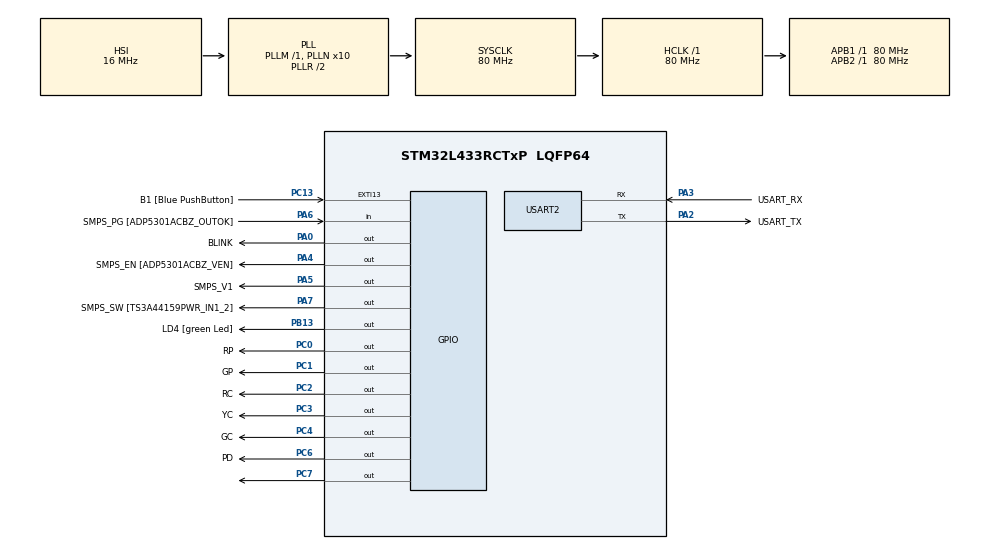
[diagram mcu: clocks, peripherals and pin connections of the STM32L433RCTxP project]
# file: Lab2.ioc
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Mcu.Family=STM32L4
Mcu.Name=STM32L433RCTxP
Mcu.Package=LQFP64
NVIC.EXTI15_10_IRQn=true\:0\:0\:false\:false\:true\:true\:true\:true
NVIC.PriorityGroup=NVIC_PRIORITYGROUP_4
PA0.GPIO_Label=BLINK
PA0.Signal=GPIO_Output
PA13\ (JTMS-SWDIO).GPIO_Label=TMS
PA13\ (JTMS-SWDIO).Mode=Serial_Wire
PA13\ (JTMS-SWDIO).Signal=SYS_JTMS-SWDIO
PA14\ (JTCK-SWCLK).GPIO_Label=TCK
PA14\ (JTCK-SWCLK).Mode=Serial_Wire
PA14\ (JTCK-SWCLK).Signal=SYS_JTCK-SWCLK
PA2.GPIO_Label=USART_TX
PA2.GPIO_Mode=GPIO_MODE_AF_PP
PA2.GPIO_PuPd=GPIO_NOPULL
PA2.GPIO_Speed=GPIO_SPEED_FREQ_VERY_HIGH
PA2.Mode=Asynchronous
PA2.Signal=USART2_TX
PA3.GPIO_Label=USART_RX
PA3.GPIO_Mode=GPIO_MODE_AF_PP
PA3.GPIO_PuPd=GPIO_NOPULL
PA3.GPIO_Speed=GPIO_SPEED_FREQ_VERY_HIGH
PA3.Mode=Asynchronous
PA3.Signal=USART2_RX
PA4.GPIO_Label=SMPS_EN [ADP5301ACBZ_VEN]
PA4.Signal=GPIO_Output
PA5.GPIO_Label=SMPS_V1
PA5.GPIO_ModeDefaultOutputPP=GPIO_MODE_OUTPUT_PP
PA5.GPIO_PuPd=GPIO_NOPULL
PA5.GPIO_Speed=GPIO_SPEED_FREQ_LOW
PA5.Signal=GPIO_Output
PA6.GPIO_Label=SMPS_PG [ADP5301ACBZ_OUTOK]
PA6.GPIO_PuPd=GPIO_PULLUP
PA6.Signal=GPIO_Input
PA7.GPIO_Label=SMPS_SW [TS3A44159PWR_IN1_2]
PA7.Signal=GPIO_Output
PB13.GPIO_Label=LD4 [green Led]
PB13.Signal=GPIO_Output
PB3\ (JTDO-TRACESWO).GPIO_Label=SWO
PB3\ (JTDO-TRACESWO).Signal=SYS_JTDO-SWO
PC0.GPIO_Label=RP
PC0.Signal=GPIO_Output
PC1.GPIO_Label=GP
PC1.Signal=GPIO_Output
PC13.GPIO_Label=B1 [Blue PushButton]
PC13.GPIO_ModeDefaultEXTI=GPIO_MODE_IT_FALLING
PC13.GPIO_PuPd=GPIO_NOPULL
PC13.Signal=GPXTI13
PC14-OSC32_IN\ (PC14).Mode=LSE-External-Oscillator
PC14-OSC32_IN\ (PC14).Signal=RCC_OSC32_IN
PC15-OSC32_OUT\ (PC15).Mode=LSE-External-Oscillator
PC15-OSC32_OUT\ (PC15).Signal=RCC_OSC32_OUT
PC2.GPIO_Label=RC
PC2.Signal=GPIO_Output
PC3.GPIO_Label=YC
PC3.Signal=GPIO_Output
PC4.GPIO_Label=GC
PC4.Signal=GPIO_Output
PC6.GPIO_Label=PD
PC6.Signal=GPIO_Output
PC7.Signal=GPIO_Output
PH0-OSC_IN\ (PH0).GPIO_Label=MCO
PH0-OSC_IN\ (PH0).Mode=HSE-External-Clock-Source
PH0-OSC_IN\ (PH0).Signal=RCC_OSC_IN
PH1-OSC_OUT\ (PH1).Signal=RCC_OSC_OUT
ProjectManager.HeapSize=0x200
ProjectManager.StackSize=0x400
ProjectManager.TargetToolchain=STM32CubeIDE
RCC.ADCFreq_Value=64000000
RCC.AHBFreq_Value=80000000
RCC.APB1Freq_Value=80000000
RCC.APB1TimFreq_Value=80000000
RCC.APB2Freq_Value=80000000
RCC.APB2TimFreq_Value=80000000
RCC.CortexFreq_Value=80000000
RCC.HCLKFreq_Value=80000000
RCC.HSE_VALUE=8000000
RCC.HSI48_VALUE=48000000
RCC.HSI_VALUE=16000000
RCC.MSI_VALUE=4000000
RCC.PLLN=10
RCC.PLLSourceVirtual=RCC_PLLSOURCE_HSI
RCC.PREFETCH_ENABLE=1
RCC.SYSCLKFreq_VALUE=80000000
RCC.SYSCLKSource=RCC_SYSCLKSOURCE_PLLCLK
RCC.USBFreq_Value=64000000
RCC.VCOOutputFreq_Value=160000000
USART2.VirtualMode-Asynchronous=VM_ASYNC
board=NUCLEO-L433RC-P

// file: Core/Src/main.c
/* USER CODE BEGIN Header */
/**
  ******************************************************************************
  * @file           : main.c
  * @brief          : Main program body
  ******************************************************************************
  * @attention
  *
  * Copyright (c) 2025 STMicroelectronics.
  * All rights reserved.
  *
  * This software is licensed under terms that can be found in the LICENSE file
  * in the root directory of this software component.
  * If no LICENSE file comes with this software, it is provided AS-IS.
  *
  ******************************************************************************
  */
/* USER CODE END Header */
#include "main.h"

UART_HandleTypeDef huart2;

void SystemClock_Config(void);
static void MX_GPIO_Init(void);
static void MX_USART2_UART_Init(void);

/* USER CODE BEGIN 0 */
typedef enum event {
  ev_none,
  ev_button_push,
  ev_state_timeout,
  ev_error = -99
} Event;

typedef enum state{
  s_init,
  s_car_go,
  s_pushed_wait,
  s_cars_stopping,
  s_all_stop,
  s_p_go,
  s_cars_wait,
  s_all_stop_2

} State;

const uint16_t lights_pins[] = {
  0b11111,
  0b01100,
  0b01010,
  0b01001,
  0b01001,
  0b10001,
  0b01011,
  0b01001
};

#define EVQ_SIZE 10

uint32_t ticks_left_in_state = 0, curr_tick = 0, last_tick = 0;

Event evq [ EVQ_SIZE ];
int evq_count    = 0;
int evq_front_ix = 0;
int evq_rear_ix  = 0;

void evq_init(){
  for(int i = 0; i < EVQ_SIZE; i++){
    evq[i] = ev_error;
  }
}

void evq_push_back(Event e){
  if(evq_count + 1 > EVQ_SIZE) return; // we ignore if we are full
  evq[evq_rear_ix] = e;
  evq_rear_ix = (evq_rear_ix + 1) % EVQ_SIZE;
  evq_count ++;
}

Event evq_pop_front(){
  if(evq_count <= 0) return ev_none;

  Event e = evq[evq_front_ix];
  evq[evq_front_ix] = ev_error;
  evq_front_ix = (evq_front_ix + 1) % EVQ_SIZE;
  evq_count --;
  return e;
}

void HAL_GPIO_EXTI_Callback( uint16_t GPIO_Pin ){
  if(GPIO_Pin == B1_Pin){
    evq_push_back(ev_button_push);
  }
}

void my_systick_handler(){

  if(ticks_left_in_state <= 0){
    evq_push_back(ev_state_timeout);
  }
  else{
    ticks_left_in_state --;
  }
}

int is_blue_button_pressed(){
  uint32_t reg_read = GPIOC->IDR;
  // we look at the first bit in the reg_variable
  return reg_read & (0x01 << 13);
}

void set_traffic_lights(State st)
{
  //int light = HAL_GPIO_ReadPin(PD_GPIO_Port, PD_Pin_Port);
  GC_GPIO_Port->BRR = 0b11111;
  GC_GPIO_Port->BSRR = lights_pins[st];
}

void push_button_light_on(){
  HAL_GPIO_WritePin(PD_GPIO_Port, PD_Pin, GPIO_PIN_SET);
}
void push_button_light_off(){
    HAL_GPIO_WritePin(PD_GPIO_Port, PD_Pin, GPIO_PIN_RESET);
}
/* USER CODE END 0 */

int main(void)
{

  /* MCU Configuration--------------------------------------------------------*/

  /* Reset of all peripherals, Initializes the Flash interface and the Systick. */
  HAL_Init();

  /* Configure the system clock */
  SystemClock_Config();

  /* Initialize all configured peripherals */
  MX_GPIO_Init();
  MX_USART2_UART_Init();
  /* USER CODE BEGIN 2 */
  State state = s_init;
  Event event = ev_none;

  int curr_pressed = is_blue_button_pressed();
  int last_pressed = curr_pressed;

  uint32_t blink_ticks = 100;
  int blink_state = 0;
  /* USER CODE END 2 */

  /* Infinite loop */
  /* USER CODE BEGIN WHILE */
  while (1)
  {
    State next_state = state;
    event = evq_pop_front();

    curr_tick = HAL_GetTick();

    switch(event){
      case ev_none:
          switch(state){
            case s_p_go:
              if(blink_ticks > 0 ){
                blink_ticks -= (curr_tick-last_tick);
              }
              else{
                HAL_GPIO_WritePin(BLINK_GPIO_Port, BLINK_Pin, blink_state ? GPIO_PIN_SET : GPIO_PIN_RESET);
                blink_state = blink_state ? 0 : 1;
                blink_ticks = 200;
              }
              break;
            default:
              if(blink_ticks > 0 ){
                blink_ticks -= (curr_tick-last_tick);
              }
              else{
                HAL_GPIO_WritePin(BLINK_GPIO_Port, BLINK_Pin, blink_state ? GPIO_PIN_SET : GPIO_PIN_RESET);
                blink_state = blink_state ? 0 : 1;
                blink_ticks = 700;
              }
              break;
          }
          break;
      case ev_button_push:

        switch(state){
          case s_init:
            next_state = s_car_go;
            break;
          case s_car_go:
            ticks_left_in_state = 2000;
            next_state = s_pushed_wait;
            push_button_light_on();
            break;
          default:
            next_state = state;
            break;
        }
        break;
      case ev_state_timeout:
        switch(state){
          case s_pushed_wait:
            ticks_left_in_state = 1000;
            next_state = s_cars_stopping;
            break;
          case s_cars_stopping:
            ticks_left_in_state = 1000;
            next_state = s_all_stop;
            push_button_light_off();

            break;
          case s_all_stop:
            ticks_left_in_state = 3000;
            next_state = s_p_go;
            break;
          case s_p_go:
            ticks_left_in_state = 1000;
            next_state = s_all_stop_2;
            break;
          case s_all_stop_2:
            next_state = s_cars_wait;
            ticks_left_in_state = 1000;
            break;
          case s_cars_wait:
            next_state = s_car_go;
            ticks_left_in_state = 1000;
            break;
          default:
            break;
        }
        break;
    }
    // switch state
    state = next_state;
    set_traffic_lights(state);
    // save last tick
    last_tick = curr_tick;

    /* USER CODE END WHILE */

  }
}

void SystemClock_Config(void)
{
  RCC_OscInitTypeDef RCC_OscInitStruct = {0};
  RCC_ClkInitTypeDef RCC_ClkInitStruct = {0};

  /** Configure the main internal regulator output voltage
  */
  if (HAL_PWREx_ControlVoltageScaling(PWR_REGULATOR_VOLTAGE_SCALE1) != HAL_OK)
  {
    Error_Handler();
  }

  /** Initializes the RCC Oscillators according to the specified parameters
  * in the RCC_OscInitTypeDef structure.
  */
  RCC_OscInitStruct.OscillatorType = RCC_OSCILLATORTYPE_HSI;
  RCC_OscInitStruct.HSIState = RCC_HSI_ON;
  RCC_OscInitStruct.HSICalibrationValue = RCC_HSICALIBRATION_DEFAULT;
  RCC_OscInitStruct.PLL.PLLState = RCC_PLL_ON;
  RCC_OscInitStruct.PLL.PLLSource = RCC_PLLSOURCE_HSI;
  RCC_OscInitStruct.PLL.PLLM = 1;
  RCC_OscInitStruct.PLL.PLLN = 10;
  RCC_OscInitStruct.PLL.PLLP = RCC_PLLP_DIV7;
  RCC_OscInitStruct.PLL.PLLQ = RCC_PLLQ_DIV2;
  RCC_OscInitStruct.PLL.PLLR = RCC_PLLR_DIV2;
  if (HAL_RCC_OscConfig(&RCC_OscInitStruct) != HAL_OK)
  {
    Error_Handler();
  }

  /** Initializes the CPU, AHB and APB buses clocks
  */
  RCC_ClkInitStruct.ClockType = RCC_CLOCKTYPE_HCLK|RCC_CLOCKTYPE_SYSCLK
                              |RCC_CLOCKTYPE_PCLK1|RCC_CLOCKTYPE_PCLK2;
  RCC_ClkInitStruct.SYSCLKSource = RCC_SYSCLKSOURCE_PLLCLK;
  RCC_ClkInitStruct.AHBCLKDivider = RCC_SYSCLK_DIV1;
  RCC_ClkInitStruct.APB1CLKDivider = RCC_HCLK_DIV1;
  RCC_ClkInitStruct.APB2CLKDivider = RCC_HCLK_DIV1;

  if (HAL_RCC_ClockConfig(&RCC_ClkInitStruct, FLASH_LATENCY_4) != HAL_OK)
  {
    Error_Handler();
  }
}

static void MX_USART2_UART_Init(void)
{

  huart2.Instance = USART2;
  huart2.Init.BaudRate = 115200;
  huart2.Init.WordLength = UART_WORDLENGTH_8B;
  huart2.Init.StopBits = UART_STOPBITS_1;
  huart2.Init.Parity = UART_PARITY_NONE;
  huart2.Init.Mode = UART_MODE_TX_RX;
  huart2.Init.HwFlowCtl = UART_HWCONTROL_NONE;
  huart2.Init.OverSampling = UART_OVERSAMPLING_16;
  huart2.Init.OneBitSampling = UART_ONE_BIT_SAMPLE_DISABLE;
  huart2.AdvancedInit.AdvFeatureInit = UART_ADVFEATURE_NO_INIT;
  if (HAL_UART_Init(&huart2) != HAL_OK)
  {
    Error_Handler();
  }

}

static void MX_GPIO_Init(void)
{
  GPIO_InitTypeDef GPIO_InitStruct = {0};

  /* GPIO Ports Clock Enable */
  __HAL_RCC_GPIOC_CLK_ENABLE();
  __HAL_RCC_GPIOH_CLK_ENABLE();
  __HAL_RCC_GPIOA_CLK_ENABLE();
  __HAL_RCC_GPIOB_CLK_ENABLE();

  /*Configure GPIO pin Output Level */
  HAL_GPIO_WritePin(GPIOC, RP_Pin|GP_Pin|RC_Pin|YC_Pin
                          |GC_Pin|PD_Pin|GPIO_PIN_7, GPIO_PIN_RESET);

  /*Configure GPIO pin Output Level */
  HAL_GPIO_WritePin(GPIOA, BLINK_Pin|SMPS_EN_Pin|SMPS_V1_Pin|SMPS_SW_Pin, GPIO_PIN_RESET);

  /*Configure GPIO pin Output Level */
  HAL_GPIO_WritePin(LD4_GPIO_Port, LD4_Pin, GPIO_PIN_RESET);

  /*Configure GPIO pin : B1_Pin */
  GPIO_InitStruct.Pin = B1_Pin;
  GPIO_InitStruct.Mode = GPIO_MODE_IT_FALLING;
  GPIO_InitStruct.Pull = GPIO_NOPULL;
  HAL_GPIO_Init(B1_GPIO_Port, &GPIO_InitStruct);

  /*Configure GPIO pins : RP_Pin GP_Pin RC_Pin YC_Pin
                           GC_Pin PD_Pin PC7 */
  GPIO_InitStruct.Pin = RP_Pin|GP_Pin|RC_Pin|YC_Pin
                          |GC_Pin|PD_Pin|GPIO_PIN_7;
  GPIO_InitStruct.Mode = GPIO_MODE_OUTPUT_PP;
  GPIO_InitStruct.Pull = GPIO_NOPULL;
  GPIO_InitStruct.Speed = GPIO_SPEED_FREQ_LOW;
  HAL_GPIO_Init(GPIOC, &GPIO_InitStruct);

  /*Configure GPIO pins : BLINK_Pin SMPS_EN_Pin SMPS_V1_Pin SMPS_SW_Pin */
  GPIO_InitStruct.Pin = BLINK_Pin|SMPS_EN_Pin|SMPS_V1_Pin|SMPS_SW_Pin;
  GPIO_InitStruct.Mode = GPIO_MODE_OUTPUT_PP;
  GPIO_InitStruct.Pull = GPIO_NOPULL;
  GPIO_InitStruct.Speed = GPIO_SPEED_FREQ_LOW;
  HAL_GPIO_Init(GPIOA, &GPIO_InitStruct);

  /*Configure GPIO pin : SMPS_PG_Pin */
  GPIO_InitStruct.Pin = SMPS_PG_Pin;
  GPIO_InitStruct.Mode = GPIO_MODE_INPUT;
  GPIO_InitStruct.Pull = GPIO_PULLUP;
  HAL_GPIO_Init(SMPS_PG_GPIO_Port, &GPIO_InitStruct);

  /*Configure GPIO pin : LD4_Pin */
  GPIO_InitStruct.Pin = LD4_Pin;
  GPIO_InitStruct.Mode = GPIO_MODE_OUTPUT_PP;
  GPIO_InitStruct.Pull = GPIO_NOPULL;
  GPIO_InitStruct.Speed = GPIO_SPEED_FREQ_LOW;
  HAL_GPIO_Init(LD4_GPIO_Port, &GPIO_InitStruct);

  /* EXTI interrupt init*/
  HAL_NVIC_SetPriority(EXTI15_10_IRQn, 0, 0);
  HAL_NVIC_EnableIRQ(EXTI15_10_IRQn);

}

void Error_Handler(void)
{
  __disable_irq();
  while (1)
  {
  }
}
